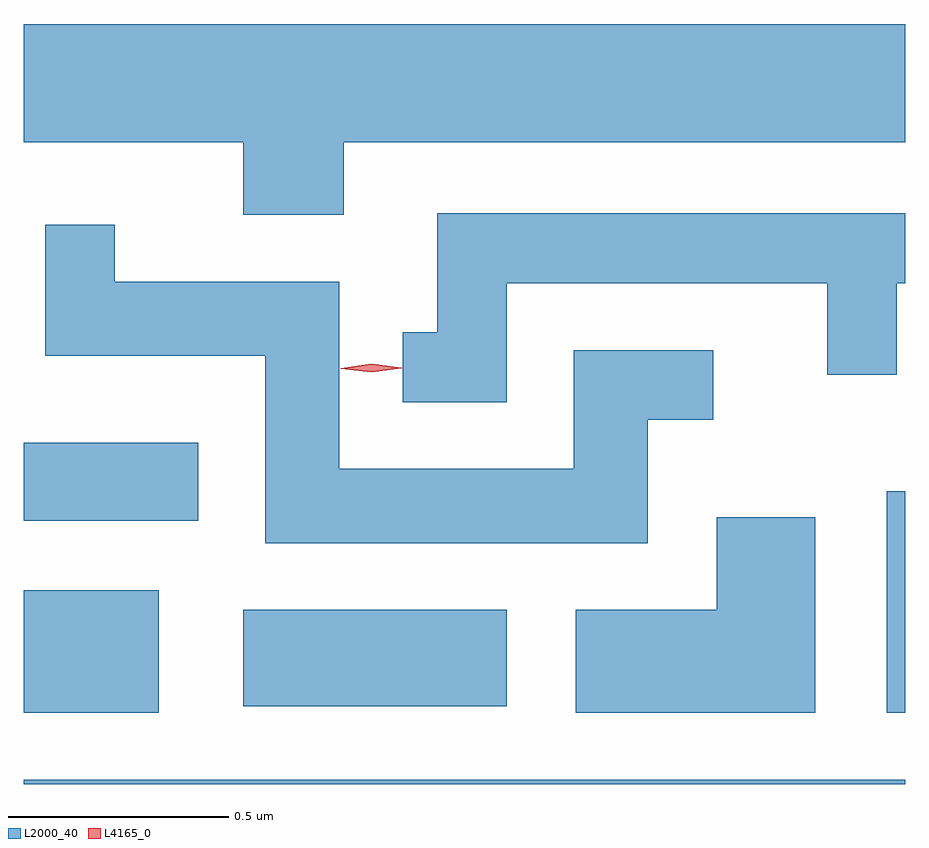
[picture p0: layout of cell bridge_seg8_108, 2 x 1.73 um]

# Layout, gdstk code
import gdstk
lib = gdstk.Library(unit=1e-6, precision=1e-09)
def R(c, l, rs):  # rectangles x0, y0, x1, y1
    for r in rs: c.add(gdstk.rectangle(r[:2], r[2:], *l))
def P(c, l, *ps):  # polygons
    for p in ps: c.add(gdstk.Polygon(p, *l))
L2000_40 = (2000, 40)
L4165_0 = (4165, 0)

bridge_seg8_108 = lib.new_cell('bridge_seg8_108')
R(bridge_seg8_108, L2000_40, [(1558.963,1810.539,1560.963,1810.549), (1558.963,1810.701,1559.269,1810.979), (1560.921,1810.701,1560.963,1811.204), (1559.461,1810.716,1560.059,1810.934), (1558.963,1811.136,1559.359,1811.314)])
P(bridge_seg8_108, L2000_40, [(1559.689,1811.996),(1560.963,1811.996),(1560.963,1812.264),(1558.963,1812.264),(1558.963,1811.996),(1559.461,1811.996),(1559.461,1811.831),(1559.689,1811.831)],
  [(1560.059,1811.676),(1560.786,1811.676),(1560.786,1811.468),(1560.944,1811.468),(1560.944,1811.676),(1560.963,1811.676),(1560.963,1811.834),(1559.901,1811.834),(1559.901,1811.564),(1559.823,1811.564),(1559.823,1811.406),(1560.059,1811.406)],
  [(1560.379,1811.366),(1560.528,1811.366),(1560.528,1811.524),(1560.211,1811.524),(1560.211,1811.254),(1559.679,1811.254),(1559.679,1811.679),(1559.169,1811.679),(1559.169,1811.808),(1559.011,1811.808),(1559.011,1811.511),(1559.511,1811.511),(1559.511,1811.086),(1560.379,1811.086)],
  [(1560.759,1811.144),(1560.536,1811.144),(1560.536,1810.934),(1560.216,1810.934),(1560.216,1810.701),(1560.759,1810.701)])
P(bridge_seg8_108, L4165_0, [(1559.752,1811.473),(1559.682,1811.482),(1559.682,1811.483),(1559.682,1811.483),(1559.752,1811.493),(1559.821,1811.484),(1559.821,1811.483),(1559.821,1811.483)])

lib.write_gds('bridge_seg8_108.gds')
